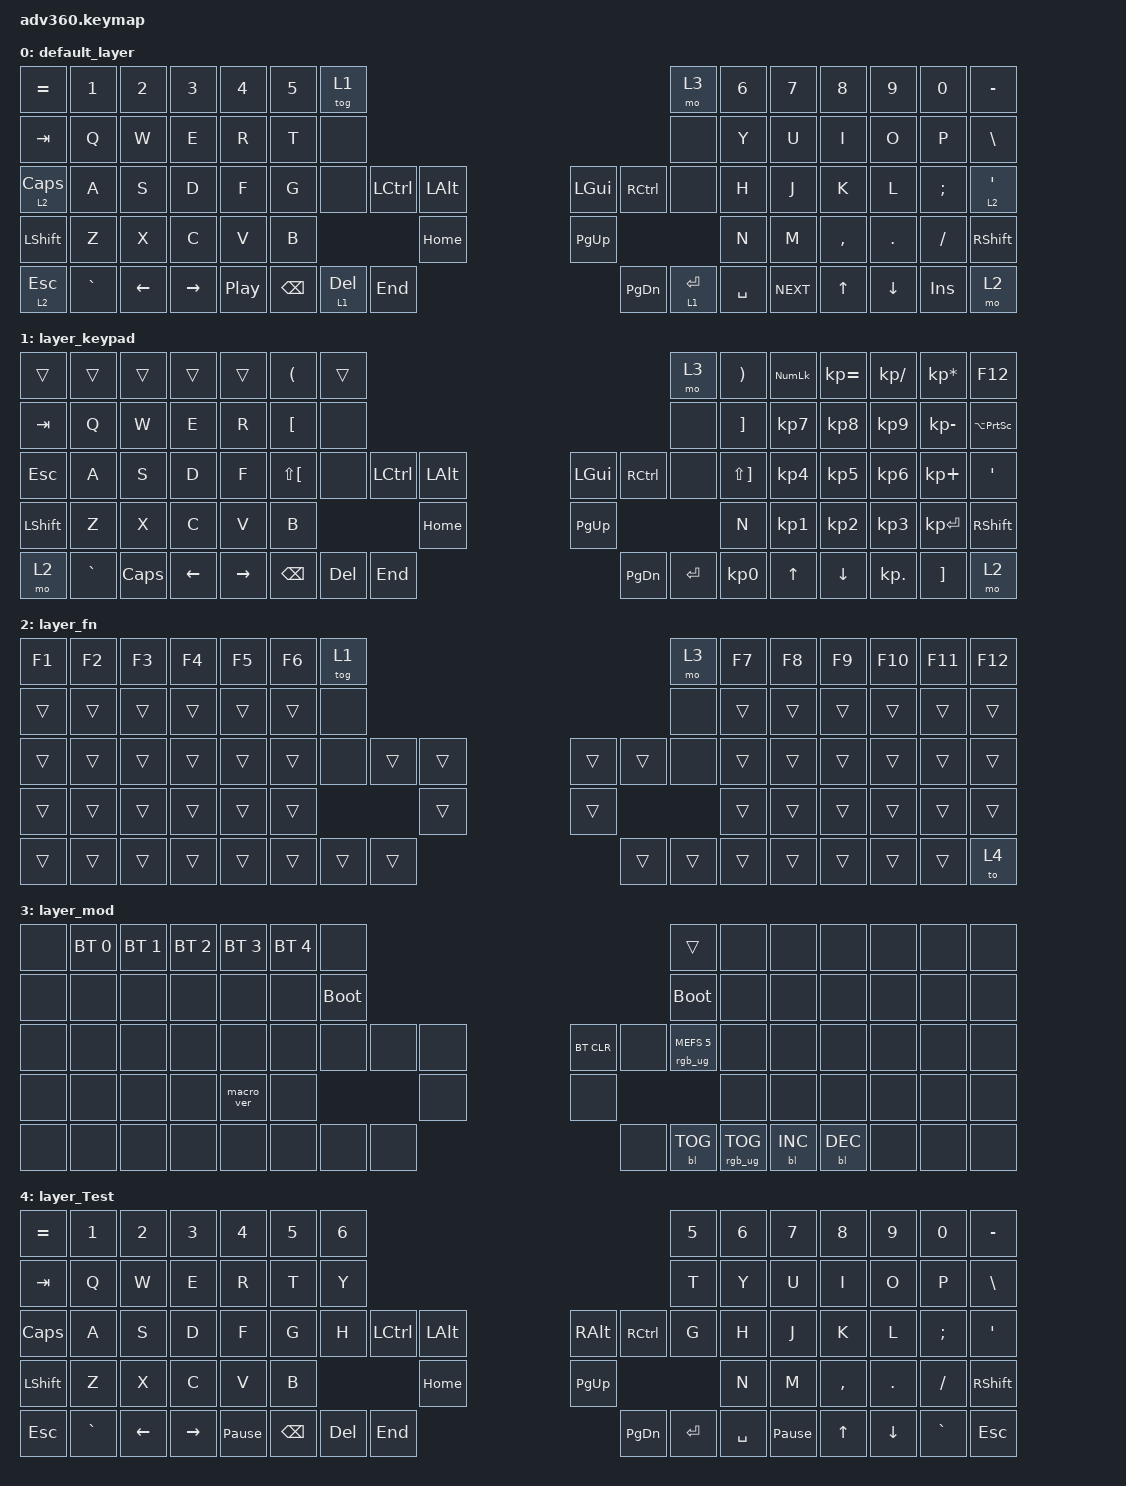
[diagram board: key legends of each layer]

/*
 * Copyright (c) 2020 The ZMK Contributors
 *
 * SPDX-License-Identifier: MIT
 */


/* THIS FILE WAS GENERATED!
 *
 * This file was generated automatically. You may or may not want to
 * edit it directly.
 */

#include <behaviors.dtsi>
#include <dt-bindings/zmk/keys.h>
#include <dt-bindings/zmk/bt.h>
#include <dt-bindings/zmk/rgb.h>
#include <dt-bindings/zmk/backlight.h>

/ {
  behaviors {
    #include "macros.dtsi"
    #include "version.dtsi"

    hm: homerow_mods {
        compatible = "zmk,behavior-hold-tap";
        label = "HOMEROW_MODS";
        #binding-cells = <2>;
        tapping-term-ms = <200>;
        quick_tap_ms = <175>;
        flavor = "tap-preferred";
        bindings = <&kp>, <&kp>;
    };
  };

    keymap {
        compatible = "zmk,keymap";


        default_layer {
            bindings = <
      &kp EQUAL     &kp N1    &kp N2     &kp N3    &kp N4  &kp N5              &tog 1                                                                      &mo 3  &kp N6      &kp N7        &kp N8    &kp N9      &kp N0           &kp MINUS
        &kp TAB      &kp Q     &kp W      &kp E     &kp R   &kp T               &none                                                                      &none   &kp Y       &kp U         &kp I     &kp O       &kp P            &kp BSLH
 &lt 2 CAPSLOCK      &kp A     &kp S      &kp D     &kp F   &kp G               &none     &kp LCTRL  &kp LALT                   &kp LGUI    &kp RCTRL      &none   &kp H       &kp J         &kp K     &kp L    &kp SEMI  &lt 2 SINGLE_QUOTE
      &kp LSHFT      &kp Z     &kp X      &kp C     &kp V   &kp B                                    &kp HOME                  &kp PG_UP                           &kp N       &kp M     &kp COMMA   &kp DOT    &kp FSLH           &kp RSHFT
      &lt 2 ESC  &kp GRAVE  &kp LEFT  &kp RIGHT  &kp C_PP                    &kp BSPC  &lt 1 DELETE   &kp END                  &kp PG_DN  &lt 1 ENTER  &kp SPACE          &kp C_NEXT  &kp UP_ARROW  &kp DOWN  &kp INSERT               &mo 2
            >;
        };

        layer_keypad {
            bindings = <
    &trans     &trans    &trans    &trans     &trans      &kp LPAR              &trans                                                                 &mo 3      &kp RPAR  &kp KP_NUM  &kp KP_EQUAL  &kp KP_DIVIDE  &kp KP_MULTIPLY              &kp F12
   &kp TAB      &kp Q     &kp W     &kp E      &kp R      &kp LBKT               &none                                                                 &none      &kp RBKT   &kp KP_N7     &kp KP_N8      &kp KP_N9     &kp KP_MINUS  &kp LA(PRINTSCREEN)
   &kp ESC      &kp A     &kp S     &kp D      &kp F  &kp LS(LBKT)               &none  &kp LCTRL  &kp LALT                   &kp LGUI  &kp RCTRL      &none  &kp LS(RBKT)   &kp KP_N4     &kp KP_N5      &kp KP_N6      &kp KP_PLUS              &kp SQT
 &kp LSHFT      &kp Z     &kp X     &kp C      &kp V         &kp B                                 &kp HOME                  &kp PG_UP                               &kp N   &kp KP_N1     &kp KP_N2      &kp KP_N3     &kp KP_ENTER            &kp RSHFT
     &mo 2  &kp GRAVE  &kp CAPS  &kp LEFT  &kp RIGHT                          &kp BSPC    &kp DEL   &kp END                  &kp PG_DN  &kp ENTER  &kp KP_N0                    &kp UP      &kp DOWN     &kp KP_DOT         &kp RBKT                &mo 2
            >;
        };

        layer_fn {
            bindings = <
 &kp F1  &kp F2  &kp F3  &kp F4  &kp F5  &kp F6            &tog 1                                                   &mo 3  &kp F7  &kp F8  &kp F9  &kp F10  &kp F11  &kp F12
 &trans  &trans  &trans  &trans  &trans  &trans             &none                                                   &none  &trans  &trans  &trans   &trans   &trans   &trans
 &trans  &trans  &trans  &trans  &trans  &trans             &none  &trans  &trans                  &trans  &trans   &none  &trans  &trans  &trans   &trans   &trans   &trans
 &trans  &trans  &trans  &trans  &trans  &trans                            &trans                  &trans                  &trans  &trans  &trans   &trans   &trans   &trans
 &trans  &trans  &trans  &trans  &trans                    &trans  &trans  &trans                  &trans  &trans  &trans          &trans  &trans   &trans   &trans    &to 4
            >;
        };

        layer_mod {
            bindings = <
  &none  &bt BT_SEL 0  &bt BT_SEL 1  &bt BT_SEL 2  &bt BT_SEL 3  &bt BT_SEL 4                  &none                                                                          &trans   &none       &none       &none   &none   &none   &none
  &none         &none         &none         &none         &none         &none            &bootloader                                                                     &bootloader   &none       &none       &none   &none   &none   &none
  &none         &none         &none         &none         &none         &none                  &none   &none   &none                  &bt BT_CLR       &none  &rgb_ug RGB_MEFS_CMD 5   &none       &none       &none   &none   &none   &none
  &none         &none         &none         &none    &macro_ver         &none                                  &none                       &none                                       &none       &none       &none   &none   &none   &none
  &none         &none         &none         &none         &none                                &none   &none   &none                       &none  &bl BL_TOG         &rgb_ug RGB_TOG          &bl BL_INC  &bl BL_DEC   &none   &none   &none
            >;
        };

        layer_Test {
            bindings = <
 &kp EQUAL  &kp NUMBER_1  &kp NUMBER_2  &kp NUMBER_3     &kp NUMBER_4  &kp NUMBER_5             &kp NUMBER_6                                                                      &kp NUMBER_5  &kp NUMBER_6     &kp NUMBER_7  &kp NUMBER_8  &kp NUMBER_9   &kp NUMBER_0         &kp MINUS
   &kp TAB         &kp Q         &kp W         &kp E            &kp R         &kp T                    &kp Y                                                                             &kp T         &kp Y            &kp U         &kp I         &kp O          &kp P     &kp BACKSLASH
  &kp CAPS         &kp A         &kp S         &kp D            &kp F         &kp G                    &kp H   &kp LCTRL  &kp LEFT_ALT                       &kp RALT  &kp RCTRL         &kp G         &kp H            &kp J         &kp K         &kp L  &kp SEMICOLON  &kp SINGLE_QUOTE
 &kp LSHFT         &kp Z         &kp X         &kp C            &kp V         &kp B                                           &kp HOME                    &kp PAGE_UP                                  &kp N            &kp M     &kp COMMA    &kp PERIOD      &kp SLASH         &kp RSHFT
   &kp ESC     &kp GRAVE      &kp LEFT     &kp RIGHT  &kp PAUSE_BREAK                          &kp BACKSPACE  &kp DELETE       &kp END                  &kp PAGE_DOWN  &kp ENTER     &kp SPACE                &kp PAUSE_BREAK        &kp UP      &kp DOWN      &kp GRAVE           &kp ESC
            >;
        };

    };
};
